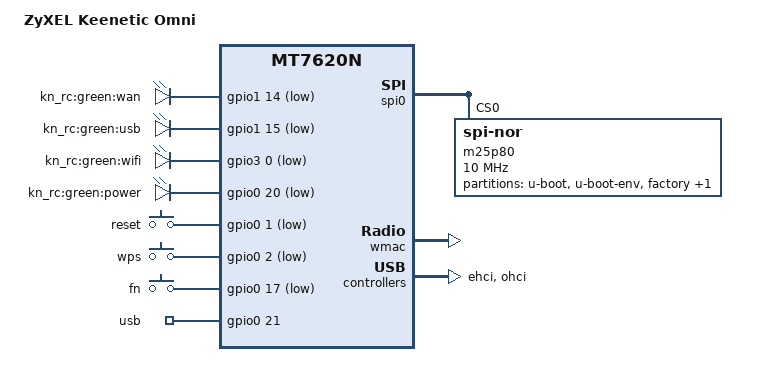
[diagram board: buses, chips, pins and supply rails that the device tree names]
/dts-v1/;

#include "mt7620n.dtsi"

#include <dt-bindings/gpio/gpio.h>
#include <dt-bindings/input/input.h>

/ {
	compatible = "zyxel,keenetic-omni", "ralink,mt7620n-soc";
	model = "ZyXEL Keenetic Omni";

	aliases {
		led-status = &led_power;
	};

	gpio-leds {
		compatible = "gpio-leds";

		wan {
			label = "kn_rc:green:wan";
			gpios = <&gpio1 14 GPIO_ACTIVE_LOW>;
		};

		usb {
			label = "kn_rc:green:usb";
			gpios = <&gpio1 15 GPIO_ACTIVE_LOW>;
		};

		wifi {
			label = "kn_rc:green:wifi";
			gpios = <&gpio3 0 GPIO_ACTIVE_LOW>;
		};

		led_power: power {
			label = "kn_rc:green:power";
			gpios = <&gpio0 20 GPIO_ACTIVE_LOW>;
		};
	};

	gpio-keys-polled {
		compatible = "gpio-keys";
		poll-interval = <20>;

		reset {
			label = "reset";
			gpios = <&gpio0 1 GPIO_ACTIVE_LOW>;
			linux,code = <KEY_RESTART>;
		};

		wps {
			label = "wps";
			gpios = <&gpio0 2 GPIO_ACTIVE_LOW>;
			linux,code = <KEY_WPS_BUTTON>;
		};

		fn {
			label = "fn";
			gpios = <&gpio0 17 GPIO_ACTIVE_LOW>;
			linux,code = <BTN_0>;
		};
	};

	gpio_export {
		compatible = "gpio-export";
		#size-cells = <0>;

		usb_power {
			gpio-export,name = "usb";
			gpio-export,output = <1>;
			gpios = <&gpio0 21 GPIO_ACTIVE_HIGH>;
		};
	};
};

&gpio1 {
	status = "okay";
};

&gpio3 {
	status = "okay";
};

&spi0 {
	status = "okay";

	m25p80@0 {
		compatible = "jedec,spi-nor";
		reg = <0>;
		spi-max-frequency = <10000000>;

		partitions {
			compatible = "fixed-partitions";
			#address-cells = <1>;
			#size-cells = <1>;

			partition@0 {
				label = "u-boot";
				reg = <0x0 0x30000>;
				read-only;
			};

			partition@30000 {
				label = "u-boot-env";
				reg = <0x30000 0x10000>;
				read-only;
			};

			factory: partition@40000 {
				label = "factory";
				reg = <0x40000 0x10000>;
				read-only;
			};

			partition@50000 {
				label = "firmware";
				reg = <0x50000 0x7b0000>;
			};
		};
	};
};

&pinctrl {
	state_default: pinctrl0 {
		gpio {
			ralink,group = "i2c", "wdt", "pa", "spi refclk", "wled";
			ralink,function = "gpio";
		};
	};
};

&ethernet {
	mtd-mac-address = <&factory 0x4>;
	mediatek,portmap = "llllw";
};

&wmac {
	ralink,mtd-eeprom = <&factory 0>;
};

&ehci {
	status = "okay";
};

&ohci {
	status = "okay";
};
